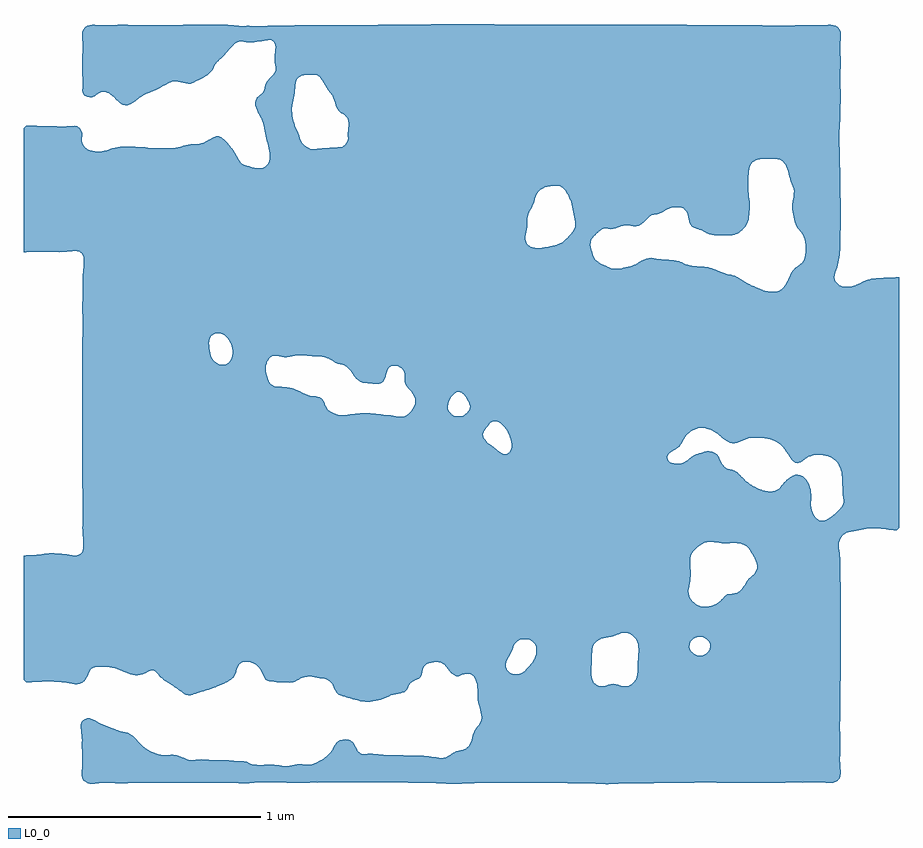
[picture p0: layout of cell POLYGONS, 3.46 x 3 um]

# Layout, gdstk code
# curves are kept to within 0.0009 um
import gdstk
lib = gdstk.Library(unit=1e-6, precision=1e-09)
def R(c, l, rs):  # rectangles x0, y0, x1, y1
    for r in rs: c.add(gdstk.rectangle(r[:2], r[2:], *l))
def P(c, l, *ps):  # polygons
    for p in ps: c.add(gdstk.Polygon(p, *l))
L0_0 = (0, 0)

polygons = lib.new_cell('POLYGONS')
R(polygons, L0_0, [(-1.387,-0.74,-1.13,-0.21), (-1.13,-0.74,-0.925,-0.21), (-0.925,-0.74,-0.767,-0.21), (-0.767,-0.74,-0.6,-0.21), (-0.6,-0.74,-0.446,-0.21), (-0.446,-0.74,-0.2,-0.21), (-0.2,-0.74,0.063,-0.21), (0.063,-0.74,0.29,-0.21), (0.29,-0.74,0.59,-0.21), (-1.499,-0.21,-1.387,-0.12), (-1.387,-0.21,-1.13,-0.12), (-1.13,-0.21,-0.925,-0.12), (-0.925,-0.21,-0.767,-0.12), (-0.767,-0.21,-0.6,-0.12), (-0.6,-0.21,-0.446,-0.12), (-0.446,-0.21,-0.2,-0.12), (-0.2,-0.21,0.063,-0.12), (-1.499,-0.12,-1.387,0.14), (-1.387,-0.12,-1.13,0.14), (-1.13,-0.12,-0.925,0.14), (-1.387,0.14,-1.13,0.24), (-1.387,0.24,-1.13,0.66)])
P(polygons, L0_0, [(-1.499,1.466),(-1.5,1.462),(-1.5,1.46),(-1.5,1.45),(-1.5,1.449),(-1.499,1.443)],
  [(-1.499,1.366),(-1.5,1.36),(-1.5,1.35),(-1.5,1.35),(-1.5,1.34),(-1.5,1.33),(-1.5,1.329),(-1.5,1.32),(-1.499,1.313)],
  [(-1.72,0.599),(-1.71,0.6),(-1.62,0.599),(-1.57,0.601),(-1.53,0.605),(-1.52,0.604),(-1.51,0.601),(-1.499,0.592),(-1.499,1.03),(-1.502,1.05),(-1.5,1.06),(-1.5,1.07),(-1.503,1.08),(-1.51,1.09),(-1.52,1.097),(-1.53,1.099),(-1.55,1.097),(-1.59,1.096),(-1.72,1.1),(-1.73,1.09),(-1.73,0.6)],
  [(-1.5,0.12),(-1.5,-0.16),(-1.499,-0.17),(-1.499,-0.212),(-1.499,0.204),(-1.499,0.2),(-1.5,0.19)],
  [(-1.72,-1.1),(-1.62,-1.097),(-1.56,-1.102),(-1.53,-1.108),(-1.51,-1.107),(-1.499,-1.102),(-1.499,-0.585),(-1.503,-0.59),(-1.51,-0.595),(-1.52,-0.599),(-1.53,-0.6),(-1.56,-0.595),(-1.61,-0.591),(-1.63,-0.591),(-1.7,-0.599),(-1.73,-0.6),(-1.73,-1.09)],
  [(-1.499,-1.254),(-1.503,-1.26),(-1.505,-1.27),(-1.505,-1.28),(-1.5,-1.33),(-1.501,-1.34),(-1.501,-1.36),(-1.5,-1.37),(-1.5,-1.38),(-1.499,-1.391)],
  [(-1.499,-1.432),(-1.5,-1.437),(-1.5,-1.44),(-1.502,-1.45),(-1.502,-1.46),(-1.501,-1.47),(-1.5,-1.476),(-1.499,-1.478)],
  [(-1.46,1.213),(-1.45,1.217),(-1.432,1.23),(-1.42,1.234),(-1.41,1.234),(-1.4,1.231),(-1.39,1.226),(-1.387,1.223),(-1.387,1.498),(-1.39,1.497),(-1.43,1.497),(-1.45,1.499),(-1.47,1.498),(-1.48,1.495),(-1.488,1.49),(-1.495,1.48),(-1.499,1.47),(-1.498,1.43),(-1.499,1.3),(-1.497,1.28),(-1.497,1.26),(-1.499,1.24),(-1.498,1.23),(-1.49,1.219),(-1.48,1.214),(-1.47,1.212)],
  [(-1.387,1.008),(-1.4,1.003),(-1.42,0.998),(-1.44,0.997),(-1.461,1),(-1.48,1.007),(-1.484,1.01),(-1.494,1.02),(-1.499,1.03),(-1.499,0.66),(-1.387,0.66)],
  [(-1.499,0.22),(-1.499,0.14),(-1.387,0.14),(-1.387,0.66),(-1.499,0.66),(-1.499,0.592),(-1.494,0.58),(-1.493,0.57),(-1.494,0.54),(-1.497,0.51),(-1.497,0.44),(-1.499,0.4),(-1.498,0.35)],
  [(-1.387,-0.21),(-1.499,-0.21),(-1.499,-0.33),(-1.498,-0.34),(-1.498,-0.48),(-1.499,-0.49),(-1.495,-0.55),(-1.495,-0.57),(-1.499,-0.585),(-1.499,-0.74),(-1.387,-0.74)],
  [(-1.497,-1.1),(-1.487,-1.09),(-1.48,-1.079),(-1.472,-1.06),(-1.465,-1.05),(-1.46,-1.046),(-1.442,-1.04),(-1.43,-1.039),(-1.41,-1.039),(-1.387,-1.042),(-1.387,-0.74),(-1.499,-0.74),(-1.499,-1.102)],
  [(-1.45,-1.502),(-1.43,-1.499),(-1.387,-1.499),(-1.387,-1.28),(-1.42,-1.267),(-1.46,-1.246),(-1.47,-1.244),(-1.48,-1.244),(-1.49,-1.247),(-1.499,-1.254),(-1.499,-1.48),(-1.493,-1.49),(-1.48,-1.499),(-1.47,-1.502)],
  [(-1.32,1.181),(-1.31,1.184),(-1.299,1.19),(-1.274,1.21),(-1.259,1.22),(-1.22,1.236),(-1.156,1.27),(-1.14,1.275),(-1.13,1.275),(-1.13,1.498),(-1.31,1.498),(-1.32,1.499),(-1.387,1.498),(-1.387,1.223),(-1.38,1.218),(-1.363,1.2),(-1.35,1.189),(-1.34,1.183),(-1.33,1.18)],
  [(-1.13,1.012),(-1.14,1.01),(-1.21,1.01),(-1.23,1.011),(-1.25,1.014),(-1.29,1.016),(-1.35,1.016),(-1.37,1.013),(-1.387,1.008),(-1.387,0.66),(-1.13,0.66)],
  [(-1.13,-0.74),(-1.387,-0.74),(-1.387,-1.042),(-1.36,-1.049),(-1.32,-1.066),(-1.29,-1.073),(-1.28,-1.073),(-1.26,-1.07),(-1.23,-1.055),(-1.22,-1.054),(-1.21,-1.058),(-1.191,-1.08),(-1.179,-1.09),(-1.13,-1.122)],
  [(-1.34,-1.5),(-1.25,-1.498),(-1.13,-1.498),(-1.13,-1.389),(-1.14,-1.388),(-1.18,-1.389),(-1.2,-1.385),(-1.23,-1.374),(-1.253,-1.36),(-1.274,-1.34),(-1.292,-1.32),(-1.31,-1.306),(-1.32,-1.301),(-1.363,-1.29),(-1.387,-1.28),(-1.387,-1.499)],
  [(-1.07,1.266),(-1.021,1.29),(-1,1.305),(-0.986,1.32),(-0.968,1.35),(-0.94,1.376),(-0.925,1.394),(-0.925,1.499),(-1.13,1.498),(-1.13,1.275),(-1.12,1.274),(-1.09,1.267)],
  [(-0.925,1.03),(-0.94,1.046),(-0.95,1.054),(-0.96,1.058),(-0.97,1.058),(-1.02,1.033),(-1.029,1.03),(-1.05,1.026),(-1.08,1.025),(-1.13,1.012),(-1.13,0.66),(-0.925,0.66)],
  [(-0.998,0.25),(-0.995,0.26),(-0.99,0.269),(-0.98,0.276),(-0.97,0.28),(-0.958,0.28),(-0.94,0.274),(-0.93,0.266),(-0.925,0.26),(-0.925,0.66),(-1.13,0.66),(-1.13,0.24),(-0.999,0.24)],
  [(-0.925,0.16),(-0.93,0.157),(-0.94,0.154),(-0.95,0.155),(-0.96,0.157),(-0.98,0.17),(-0.99,0.186),(-0.994,0.2),(-0.999,0.24),(-1.13,0.24),(-1.13,0.14),(-0.925,0.14)],
  [(-1.07,-1.153),(-1.034,-1.14),(-0.99,-1.127),(-0.96,-1.115),(-0.925,-1.098),(-0.925,-0.74),(-1.13,-0.74),(-1.13,-1.122),(-1.09,-1.15),(-1.08,-1.153)],
  [(-0.93,-1.499),(-0.925,-1.499),(-0.925,-1.41),(-0.95,-1.409),(-0.97,-1.41),(-1.03,-1.406),(-1.06,-1.41),(-1.071,-1.41),(-1.08,-1.408),(-1.11,-1.395),(-1.13,-1.389),(-1.13,-1.498)],
  [(-0.92,1.4),(-0.9,1.421),(-0.89,1.428),(-0.88,1.432),(-0.87,1.433),(-0.84,1.429),(-0.82,1.43),(-0.767,1.438),(-0.767,1.495),(-0.77,1.494),(-0.84,1.495),(-0.87,1.494),(-0.925,1.499),(-0.925,1.394)],
  [(-0.8,1.145),(-0.787,1.12),(-0.784,1.11),(-0.767,1.03),(-0.767,1.277),(-0.772,1.27),(-0.78,1.24),(-0.786,1.23),(-0.8,1.219),(-0.81,1.209),(-0.814,1.2),(-0.816,1.19),(-0.815,1.18),(-0.81,1.164)],
  [(-0.767,0.947),(-0.77,0.943),(-0.78,0.936),(-0.79,0.932),(-0.8,0.931),(-0.83,0.936),(-0.86,0.945),(-0.87,0.951),(-0.894,0.99),(-0.925,1.03),(-0.925,0.66),(-0.767,0.66)],
  [(-0.773,0.15),(-0.77,0.164),(-0.767,0.171),(-0.767,0.66),(-0.925,0.66),(-0.925,0.26),(-0.92,0.254),(-0.912,0.24),(-0.908,0.23),(-0.904,0.21),(-0.904,0.2),(-0.909,0.18),(-0.914,0.17),(-0.92,0.163),(-0.925,0.16),(-0.925,0.14),(-0.774,0.14)],
  [(-0.767,0.102),(-0.769,0.11),(-0.77,0.113),(-0.772,0.12),(-0.773,0.13),(-0.774,0.14),(-0.925,0.14),(-0.925,-0.12),(-0.767,-0.12)],
  [(-0.92,-1.095),(-0.912,-1.09),(-0.901,-1.08),(-0.895,-1.07),(-0.891,-1.06),(-0.889,-1.05),(-0.878,-1.03),(-0.87,-1.023),(-0.86,-1.019),(-0.84,-1.02),(-0.83,-1.023),(-0.81,-1.034),(-0.795,-1.05),(-0.78,-1.081),(-0.773,-1.09),(-0.767,-1.094),(-0.767,-0.74),(-0.925,-0.74),(-0.925,-1.098)],
  [(-0.84,-1.5),(-0.81,-1.497),(-0.767,-1.497),(-0.767,-1.427),(-0.8,-1.428),(-0.82,-1.426),(-0.83,-1.424),(-0.85,-1.416),(-0.86,-1.414),(-0.88,-1.414),(-0.925,-1.41),(-0.925,-1.499),(-0.89,-1.499),(-0.86,-1.501)],
  [(-0.671,1.17),(-0.66,1.229),(-0.658,1.26),(-0.653,1.28),(-0.646,1.29),(-0.63,1.299),(-0.62,1.301),(-0.6,1.302),(-0.6,1.498),(-0.64,1.498),(-0.69,1.495),(-0.767,1.495),(-0.767,1.438),(-0.76,1.439),(-0.75,1.437),(-0.74,1.429),(-0.736,1.42),(-0.735,1.41),(-0.739,1.36),(-0.734,1.33),(-0.734,1.32),(-0.74,1.308),(-0.767,1.277),(-0.767,1.16),(-0.671,1.16)],
  [(-0.6,1.009),(-0.62,1.02),(-0.63,1.031),(-0.635,1.04),(-0.66,1.103),(-0.669,1.14),(-0.671,1.16),(-0.767,1.16),(-0.767,1.03),(-0.758,0.99),(-0.758,0.97),(-0.76,0.96),(-0.767,0.947),(-0.767,0.66),(-0.6,0.66)],
  [(-0.761,0.18),(-0.75,0.188),(-0.741,0.19),(-0.73,0.19),(-0.69,0.184),(-0.65,0.193),(-0.63,0.193),(-0.6,0.19),(-0.6,0.66),(-0.767,0.66),(-0.767,0.171)],
  [(-0.6,0.033),(-0.621,0.04),(-0.67,0.062),(-0.69,0.066),(-0.72,0.067),(-0.741,0.07),(-0.756,0.08),(-0.763,0.09),(-0.767,0.102),(-0.767,-0.12),(-0.6,-0.12)],
  [(-0.67,-1.101),(-0.66,-1.098),(-0.64,-1.087),(-0.62,-1.079),(-0.6,-1.077),(-0.6,-0.74),(-0.767,-0.74),(-0.767,-1.094),(-0.73,-1.1),(-0.68,-1.102)],
  [(-0.64,-1.498),(-0.6,-1.498),(-0.6,-1.427),(-0.65,-1.425),(-0.69,-1.432),(-0.7,-1.432),(-0.75,-1.426),(-0.767,-1.427),(-0.767,-1.497)],
  [(-0.58,1.302),(-0.57,1.3),(-0.56,1.293),(-0.55,1.279),(-0.53,1.245),(-0.512,1.22),(-0.503,1.2),(-0.493,1.17),(-0.487,1.16),(-0.48,1.153),(-0.46,1.141),(-0.45,1.13),(-0.447,1.12),(-0.446,1.1),(-0.449,1.07),(-0.448,1.05),(-0.45,1.04),(-0.455,1.03),(-0.46,1.024),(-0.47,1.017),(-0.51,1.012),(-0.54,1.011),(-0.58,1.007),(-0.59,1.007),(-0.6,1.009),(-0.6,0.66),(-0.446,0.66),(-0.446,1.497),(-0.6,1.498),(-0.6,1.302)],
  [(-0.446,0.66),(-0.6,0.66),(-0.6,0.19),(-0.56,0.189),(-0.54,0.185),(-0.527,0.18),(-0.49,0.158),(-0.47,0.155),(-0.459,0.15),(-0.446,0.139)],
  [(-0.446,-0.043),(-0.46,-0.044),(-0.49,-0.043),(-0.51,-0.036),(-0.52,-0.03),(-0.531,-0.02),(-0.537,-0.01),(-0.544,0.01),(-0.552,0.02),(-0.56,0.026),(-0.57,0.029),(-0.6,0.033),(-0.6,-0.12),(-0.446,-0.12)],
  [(-0.446,-0.74),(-0.6,-0.74),(-0.6,-1.077),(-0.55,-1.085),(-0.53,-1.09),(-0.52,-1.096),(-0.51,-1.108),(-0.5,-1.132),(-0.49,-1.147),(-0.48,-1.153),(-0.446,-1.162)],
  [(-0.59,-1.497),(-0.57,-1.498),(-0.52,-1.496),(-0.446,-1.496),(-0.446,-1.329),(-0.46,-1.327),(-0.47,-1.328),(-0.481,-1.33),(-0.49,-1.335),(-0.502,-1.35),(-0.512,-1.37),(-0.519,-1.38),(-0.53,-1.392),(-0.55,-1.407),(-0.57,-1.417),(-0.59,-1.425),(-0.6,-1.427),(-0.6,-1.498)],
  [(-0.2,1.5),(-0.44,1.498),(-0.446,1.497),(-0.446,0.66),(-0.2,0.66)],
  [(-0.2,0.66),(-0.446,0.66),(-0.446,0.139),(-0.44,0.133),(-0.416,0.1),(-0.4,0.088),(-0.39,0.084),(-0.33,0.079),(-0.32,0.081),(-0.31,0.088),(-0.3,0.11),(-0.298,0.12),(-0.294,0.13),(-0.289,0.14),(-0.28,0.148),(-0.27,0.151),(-0.25,0.148),(-0.24,0.143),(-0.23,0.133),(-0.225,0.12),(-0.224,0.11),(-0.225,0.09),(-0.223,0.08),(-0.217,0.07),(-0.2,0.051)],
  [(-0.2,-0.031),(-0.21,-0.041),(-0.22,-0.047),(-0.23,-0.05),(-0.24,-0.051),(-0.28,-0.045),(-0.37,-0.037),(-0.39,-0.037),(-0.446,-0.043),(-0.446,-0.12),(-0.2,-0.12)],
  [(-0.36,-1.177),(-0.32,-1.17),(-0.28,-1.153),(-0.27,-1.15),(-0.24,-1.145),(-0.227,-1.14),(-0.217,-1.13),(-0.206,-1.11),(-0.2,-1.102),(-0.2,-0.74),(-0.446,-0.74),(-0.446,-1.162),(-0.4,-1.175),(-0.38,-1.177)],
  [(-0.2,-1.391),(-0.25,-1.389),(-0.3,-1.389),(-0.35,-1.384),(-0.39,-1.385),(-0.403,-1.38),(-0.412,-1.37),(-0.428,-1.34),(-0.44,-1.331),(-0.446,-1.329),(-0.446,-1.496),(-0.2,-1.498)],
  [(0.063,1.502),(-0.2,1.5),(-0.2,0.66),(0.063,0.66)],
  [(-0.05,-1.054),(-0.04,-1.065),(-0.03,-1.072),(-0.02,-1.076),(-0.01,-1.076),(0,-1.072),(0.02,-1.067),(0.03,-1.068),(0.04,-1.071),(0.05,-1.079),(0.056,-1.09),(0.062,-1.11),(0.063,-1.12),(0.063,-0.74),(-0.2,-0.74),(-0.2,-1.102),(-0.17,-1.086),(-0.164,-1.08),(-0.157,-1.07),(-0.153,-1.05),(-0.149,-1.04),(-0.14,-1.03),(-0.13,-1.025),(-0.1,-1.02),(-0.08,-1.023),(-0.069,-1.03)],
  [(-0.02,-1.502),(0.063,-1.499),(0.063,-1.276),(0.053,-1.29),(0.048,-1.3),(0.04,-1.33),(0.031,-1.35),(0.02,-1.361),(0.01,-1.366),(-0.02,-1.374),(-0.032,-1.38),(-0.06,-1.398),(-0.08,-1.401),(-0.15,-1.392),(-0.2,-1.391),(-0.2,-1.498),(-0.15,-1.498),(-0.06,-1.502)],
  [(-0.192,-0.02),(-0.2,-0.031),(-0.2,-0.12),(0.063,-0.12),(0.063,0.66),(-0.2,0.66),(-0.2,0.051),(-0.192,0.04),(-0.183,0.02),(-0.182,0.01),(-0.183,0),(-0.187,-0.01),(-0.055,-0.01),(-0.05,0.01),(-0.04,0.029),(-0.029,0.04),(-0.02,0.045),(-0.01,0.047),(0,0.044),(0.01,0.036),(0.015,0.03),(0.031,0),(0.034,-0.01),(0.03,-0.025),(0.02,-0.038),(0.01,-0.045),(0,-0.048),(-0.01,-0.049),(-0.02,-0.049),(-0.03,-0.046),(-0.04,-0.041),(-0.05,-0.03),(-0.054,-0.02),(-0.055,-0.01),(-0.187,-0.01)],
  [(0.254,0.67),(0.258,0.69),(0.26,0.734),(0.263,0.75),(0.279,0.78),(0.29,0.81),(0.29,1.499),(0.21,1.499),(0.063,1.502),(0.063,0.66),(0.253,0.66)],
  [(0.29,0.617),(0.276,0.62),(0.261,0.63),(0.256,0.64),(0.253,0.65),(0.253,0.66),(0.063,0.66),(0.063,-0.12),(0.084,-0.12),(0.087,-0.11),(0.11,-0.079),(0.12,-0.07),(0.13,-0.068),(0.14,-0.069),(0.15,-0.073),(0.16,-0.08),(0.17,-0.09),(0.182,-0.11),(0.19,-0.129),(0.199,-0.16),(0.199,-0.17),(0.196,-0.18),(0.191,-0.19),(0.18,-0.198),(0.17,-0.199),(0.16,-0.196),(0.15,-0.19),(0.1,-0.151),(0.091,-0.14),(0.086,-0.13),(0.084,-0.12),(0.063,-0.12),(0.063,-0.21),(0.29,-0.21)],
  [(0.175,-1.03),(0.18,-1.012),(0.202,-0.97),(0.209,-0.95),(0.22,-0.938),(0.23,-0.933),(0.24,-0.931),(0.249,-0.93),(0.26,-0.931),(0.27,-0.933),(0.28,-0.938),(0.29,-0.949),(0.29,-0.74),(0.063,-0.74),(0.063,-1.04),(0.175,-1.04)],
  [(0.23,-1.067),(0.22,-1.069),(0.21,-1.069),(0.2,-1.067),(0.19,-1.063),(0.18,-1.054),(0.175,-1.04),(0.063,-1.04),(0.063,-1.12),(0.065,-1.17),(0.077,-1.22),(0.08,-1.239),(0.079,-1.25),(0.075,-1.26),(0.063,-1.276),(0.063,-1.499),(0.29,-1.499),(0.29,-1.005),(0.28,-1.023),(0.257,-1.05),(0.25,-1.057),(0.24,-1.064)],
  [(0.298,0.83),(0.31,0.845),(0.33,0.856),(0.34,0.859),(0.35,0.861),(0.38,0.863),(0.39,0.861),(0.4,0.854),(0.41,0.844),(0.42,0.829),(0.433,0.8),(0.44,0.77),(0.45,0.71),(0.449,0.7),(0.446,0.69),(0.44,0.68),(0.423,0.66),(0.413,0.65),(0.4,0.64),(0.378,0.63),(0.34,0.62),(0.31,0.616),(0.29,0.617),(0.29,-0.21),(0.59,-0.21),(0.59,0.537),(0.55,0.555),(0.541,0.56),(0.528,0.57),(0.518,0.59),(0.513,0.61),(0.51,0.63),(0.511,0.64),(0.514,0.65),(0.52,0.659),(0.541,0.68),(0.55,0.687),(0.56,0.693),(0.57,0.695),(0.59,0.691),(0.59,1.5),(0.29,1.499),(0.29,0.811)],
  [(0.514,-1.05),(0.515,-0.99),(0.517,-0.97),(0.519,-0.96),(0.523,-0.95),(0.532,-0.94),(0.55,-0.929),(0.56,-0.926),(0.59,-0.921),(0.59,-0.74),(0.29,-0.74),(0.29,-0.949),(0.295,-0.96),(0.296,-0.97),(0.295,-0.99),(0.29,-1.005),(0.29,-1.06),(0.514,-1.06)],
  [(0.59,-1.502),(0.59,-1.108),(0.56,-1.116),(0.55,-1.116),(0.54,-1.114),(0.53,-1.109),(0.521,-1.1),(0.517,-1.09),(0.515,-1.08),(0.514,-1.06),(0.29,-1.06),(0.29,-1.499),(0.41,-1.499),(0.57,-1.503)],
  [(0.6,0.692),(0.63,0.702),(0.65,0.706),(0.66,0.706),(0.68,0.703),(0.69,0.703),(0.7,0.705),(0.71,0.71),(0.72,0.718),(0.742,0.74),(0.75,0.745),(0.76,0.748),(0.78,0.751),(0.79,0.755),(0.814,0.77),(0.83,0.775),(0.85,0.778),(0.86,0.778),(0.87,0.775),(0.87,1.499),(0.59,1.5),(0.59,0.691)],
  [(0.817,-0.2),(0.83,-0.189),(0.847,-0.18),(0.86,-0.17),(0.87,-0.155),(0.87,0.559),(0.85,0.566),(0.796,0.57),(0.75,0.577),(0.73,0.574),(0.71,0.565),(0.69,0.553),(0.66,0.542),(0.63,0.535),(0.62,0.534),(0.6,0.534),(0.59,0.537),(0.59,-0.21),(0.813,-0.21)],
  [(0.87,-0.234),(0.86,-0.236),(0.85,-0.236),(0.84,-0.235),(0.83,-0.233),(0.824,-0.23),(0.82,-0.227),(0.815,-0.22),(0.813,-0.21),(0.59,-0.21),(0.59,-0.74),(0.87,-0.74)],
  [(0.6,-0.918),(0.63,-0.907),(0.64,-0.905),(0.65,-0.904),(0.66,-0.906),(0.67,-0.91),(0.682,-0.92),(0.69,-0.93),(0.695,-0.94),(0.698,-0.95),(0.7,-0.98),(0.695,-1.07),(0.693,-1.08),(0.682,-1.1),(0.672,-1.11),(0.66,-1.116),(0.65,-1.117),(0.64,-1.116),(0.6,-1.107),(0.59,-1.108),(0.59,-1.502),(0.87,-1.498),(0.87,-0.74),(0.59,-0.74),(0.59,-0.921)],
  [(1.01,1.498),(0.87,1.499),(0.87,0.775),(0.88,0.771),(0.89,0.76),(0.897,0.74),(0.898,0.73),(0.901,0.72),(0.905,0.71),(0.913,0.7),(0.93,0.692),(0.95,0.686),(0.98,0.67),(1.01,0.666)],
  [(0.873,-0.15),(0.878,-0.14),(0.89,-0.123),(0.9,-0.114),(0.91,-0.107),(0.924,-0.1),(0.94,-0.095),(0.95,-0.094),(0.96,-0.095),(0.978,-0.1),(1.01,-0.116),(1.01,0.529),(0.976,0.54),(0.91,0.546),(0.89,0.551),(0.87,0.559),(0.87,-0.155)],
  [(0.899,-0.73),(0.903,-0.71),(0.906,-0.68),(0.904,-0.61),(0.906,-0.6),(0.91,-0.59),(0.93,-0.568),(0.941,-0.56),(0.96,-0.55),(0.97,-0.547),(0.98,-0.546),(1.01,-0.548),(1.01,-0.2),(1,-0.193),(0.99,-0.189),(0.97,-0.188),(0.93,-0.199),(0.91,-0.21),(0.88,-0.23),(0.87,-0.234),(0.87,-0.74),(0.897,-0.74)],
  [(0.88,-1.498),(0.93,-1.497),(1.01,-1.498),(1.01,-0.79),(1,-0.795),(0.98,-0.801),(0.95,-0.802),(0.94,-0.799),(0.92,-0.787),(0.905,-0.77),(0.9,-0.76),(0.897,-0.74),(0.87,-0.74),(0.87,-0.96),(0.901,-0.96),(0.902,-0.95),(0.905,-0.94),(0.91,-0.934),(0.92,-0.926),(0.93,-0.922),(0.94,-0.92),(0.95,-0.921),(0.96,-0.924),(0.97,-0.93),(0.979,-0.94),(0.984,-0.95),(0.984,-0.96),(0.982,-0.97),(0.976,-0.98),(0.964,-0.99),(0.95,-0.995),(0.94,-0.995),(0.93,-0.993),(0.92,-0.989),(0.909,-0.98),(0.903,-0.97),(0.901,-0.96),(0.87,-0.96),(0.87,-1.498)],
  [(1.07,0.666),(1.09,0.673),(1.11,0.687),(1.122,0.7),(1.128,0.71),(1.135,0.73),(1.139,0.77),(1.139,0.8),(1.133,0.85),(1.134,0.9),(1.137,0.93),(1.14,0.94),(1.15,0.955),(1.157,0.96),(1.157,1.497),(1.01,1.498),(1.01,0.666),(1.03,0.667)],
  [(1.08,-0.156),(1.101,-0.15),(1.13,-0.137),(1.14,-0.134),(1.157,-0.133),(1.157,0.465),(1.13,0.476),(1.092,0.5),(1.08,0.506),(1.04,0.516),(1.01,0.528),(1.01,0.529),(1.01,-0.116),(1.05,-0.148),(1.06,-0.153),(1.07,-0.156)],
  [(1.157,-0.327),(1.13,-0.31),(1.089,-0.27),(1.08,-0.264),(1.071,-0.26),(1.05,-0.256),(1.04,-0.25),(1.03,-0.237),(1.02,-0.215),(1.01,-0.2),(1.01,-0.548),(1.04,-0.552),(1.07,-0.55),(1.1,-0.552),(1.123,-0.56),(1.13,-0.565),(1.14,-0.576),(1.157,-0.606)],
  [(1.15,-1.498),(1.157,-1.498),(1.157,-0.673),(1.138,-0.69),(1.13,-0.7),(1.111,-0.73),(1.1,-0.74),(1.09,-0.746),(1.08,-0.749),(1.05,-0.753),(1.04,-0.76),(1.023,-0.78),(1.01,-0.79),(1.01,-1.498)],
  [(1.17,0.965),(1.18,0.968),(1.198,0.97),(1.23,0.97),(1.25,0.968),(1.26,0.966),(1.27,0.96),(1.28,0.949),(1.285,0.94),(1.296,0.9),(1.302,0.88),(1.31,0.86),(1.315,0.84),(1.313,0.82),(1.307,0.79),(1.307,0.78),(1.318,0.72),(1.321,0.71),(1.326,0.7),(1.35,0.668),(1.35,1.498),(1.31,1.496),(1.157,1.497),(1.157,0.96)],
  [(1.34,-0.231),(1.35,-0.224),(1.35,0.561),(1.34,0.552),(1.32,0.538),(1.313,0.53),(1.3,0.51),(1.292,0.49),(1.281,0.47),(1.27,0.458),(1.26,0.45),(1.24,0.443),(1.22,0.443),(1.2,0.447),(1.157,0.465),(1.157,-0.133),(1.18,-0.133),(1.21,-0.137),(1.23,-0.143),(1.25,-0.153),(1.26,-0.16),(1.27,-0.17),(1.3,-0.213),(1.32,-0.233),(1.33,-0.235)],
  [(1.16,-1.498),(1.28,-1.498),(1.29,-1.497),(1.35,-1.498),(1.35,-0.287),(1.34,-0.282),(1.33,-0.28),(1.32,-0.281),(1.301,-0.29),(1.287,-0.3),(1.277,-0.31),(1.26,-0.331),(1.249,-0.34),(1.24,-0.344),(1.22,-0.347),(1.2,-0.344),(1.187,-0.34),(1.157,-0.327),(1.157,-0.606),(1.164,-0.62),(1.169,-0.64),(1.169,-0.65),(1.166,-0.66),(1.157,-0.673),(1.157,-1.498)],
  [(1.36,-0.216),(1.371,-0.21),(1.4,-0.202),(1.42,-0.202),(1.44,-0.205),(1.46,-0.212),(1.47,-0.217),(1.48,-0.225),(1.492,-0.24),(1.497,-0.253),(1.497,0.468),(1.49,0.472),(1.48,0.481),(1.475,0.49),(1.474,0.5),(1.478,0.52),(1.49,0.559),(1.494,0.58),(1.497,0.61),(1.497,0.93),(1.493,1.05),(1.497,1.12),(1.497,1.475),(1.496,1.48),(1.488,1.49),(1.48,1.495),(1.47,1.498),(1.46,1.499),(1.43,1.497),(1.35,1.498),(1.35,0.668),(1.358,0.65),(1.362,0.62),(1.36,0.588),(1.355,0.57),(1.35,0.561),(1.35,-0.224)],
  [(1.47,-1.498),(1.487,-1.49),(1.495,-1.48),(1.497,-1.472),(1.496,-1.41),(1.497,-1.39),(1.496,-1.29),(1.497,-1.25),(1.497,-0.61),(1.491,-0.56),(1.492,-0.55),(1.497,-0.536),(1.497,-0.414),(1.48,-0.432),(1.46,-0.448),(1.44,-0.46),(1.43,-0.463),(1.42,-0.463),(1.41,-0.459),(1.4,-0.45),(1.393,-0.44),(1.388,-0.43),(1.382,-0.41),(1.381,-0.39),(1.383,-0.37),(1.38,-0.34),(1.375,-0.32),(1.37,-0.309),(1.364,-0.3),(1.35,-0.287),(1.35,-1.498),(1.39,-1.496),(1.42,-1.496),(1.45,-1.499)],
  [(1.498,1.43),(1.499,1.44),(1.5,1.45),(1.5,1.457),(1.5,1.46),(1.5,1.461),(1.499,1.47),(1.497,1.475),(1.497,1.421)],
  [(1.497,1.13),(1.498,1.14),(1.498,1.18),(1.499,1.19),(1.499,1.24),(1.498,1.25),(1.498,1.32),(1.499,1.33),(1.499,1.37),(1.498,1.38),(1.498,1.39),(1.497,1.4),(1.497,1.406)],
  [(1.498,0.63),(1.498,0.68),(1.499,0.69),(1.499,0.81),(1.498,0.82),(1.498,0.88),(1.497,0.89),(1.497,0.894),(1.497,0.625)],
  [(1.5,-0.53),(1.51,-0.518),(1.52,-0.511),(1.53,-0.507),(1.61,-0.492),(1.64,-0.491),(1.72,-0.5),(1.73,-0.49),(1.73,0.5),(1.65,0.497),(1.62,0.494),(1.6,0.488),(1.558,0.47),(1.54,0.464),(1.52,0.463),(1.51,0.464),(1.497,0.468),(1.497,-0.253),(1.503,-0.27),(1.506,-0.3),(1.508,-0.36),(1.511,-0.38),(1.511,-0.39),(1.508,-0.4),(1.497,-0.414),(1.497,-0.536)],
  [(1.497,-1.16),(1.498,-1.15),(1.498,-1.1),(1.499,-1.09),(1.499,-0.95),(1.5,-0.94),(1.5,-0.74),(1.499,-0.73),(1.499,-0.71),(1.498,-0.7),(1.498,-0.68),(1.497,-0.672)],
  [(1.497,-1.35),(1.497,-1.35),(1.497,-1.36)],
  [(1.498,-1.47),(1.499,-1.46),(1.499,-1.45),(1.498,-1.44),(1.497,-1.433),(1.497,-1.472)])

lib.write_gds('POLYGONS.gds')
